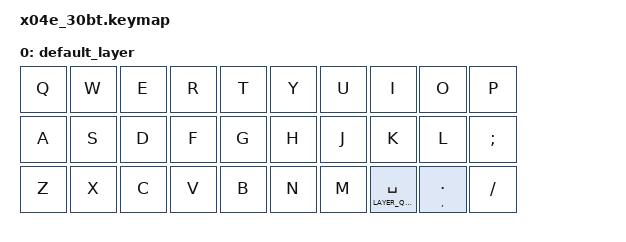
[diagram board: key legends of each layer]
#include <behaviors.dtsi>
#include <dt-bindings/zmk/bt.h>
#include <dt-bindings/zmk/keys.h>

#define LAYER_QWERTY 0
#define LAYER_SYM    1

/ {

    behaviors {
        cmdt: comma-dot-tap {
            compatible = "zmk,behavior-hold-tap";
            label = "HT-COMMA-PERIOD";
            #binding-cells = <2>;
            flavor = "tap-preferred";
            tapping-term-ms = <120>;
            bindings = <&kp>, <&kp>;
        };
    };

    keymap {
        compatible = "zmk,keymap";


        default_layer {
            bindings = <
            &kp Q   &kp W   &kp E   &kp R   &kp T   &kp Y   &kp U   &kp I   &kp O   &kp P
            &kp A   &kp S   &kp D   &kp F   &kp G   &kp H   &kp J   &kp K   &kp L   &kp SEMI
            &kp Z   &kp X   &kp C   &kp V   &kp B   &kp N   &kp M   &lt LAYER_QWERTY SPACE  &cmdt COMMA PERIOD  &kp FSLH
            >;
        };
    };

};
